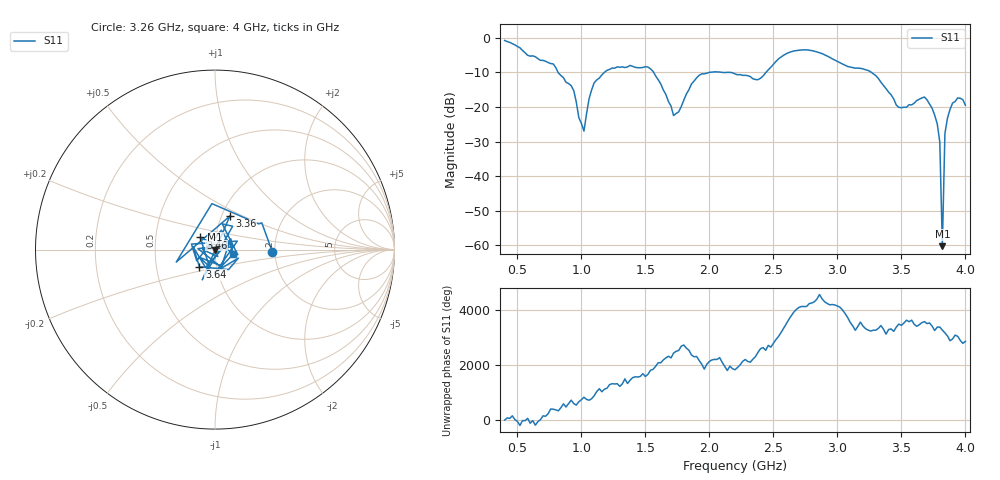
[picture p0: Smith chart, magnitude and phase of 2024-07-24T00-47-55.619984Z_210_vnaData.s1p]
!Created with skrf (http://scikit-rf.org).
# Hz S RI R 50.0
!freq ReS11 ImS11
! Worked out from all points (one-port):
!   181 points, 400 MHz to 4 GHz, reference 50 ohm
!   lowest |S11| = -60.2 dB at 3.82 GHz (marker M1), VSWR 1.00, Z = 50.1 + j0.0523 ohm
!   |S11| at or under -10 dB: 817.2 MHz to 1.181 GHz (363.9 MHz wide, 36.4 % of centre); 1.564 GHz to 2.012 GHz (448.6 MHz wide, 25.1 % of centre); 3.263 GHz to end of sweep (the widest 3 of 4)
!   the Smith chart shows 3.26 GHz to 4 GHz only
!   S11 on the Smith chart (normalised r, x): 3.26 GHz: 1.94, -0.05; 3.36 GHz: 1.09, +0.43; 3.46 GHz: 0.84, +0.12; 3.64 GHz: 0.83, -0.16; 4 GHz: 1.23, -0.06
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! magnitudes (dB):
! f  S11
! 400 MHz  -0.8
! 780 MHz  -7.6
! 860 MHz  -11.6
! 940 MHz  -15.3
! 1.02 GHz  -27.0
! 1.06 GHz  -17.6
! 1.1 GHz  -13.0
! 1.3 GHz  -8.6
! 1.54 GHz  -9.0
! 1.72 GHz  -22.5
! 1.76 GHz  -21.4
! 1.92 GHz  -10.9
! 2.2 GHz  -10.5
! 2.38 GHz  -12.2
! 2.66 GHz  -3.9
! 3.1 GHz  -8.5
! 3.26 GHz  -9.9
! 3.36 GHz  -13.8
! 3.46 GHz  -19.5
! 3.56 GHz  -19.4
! 3.64 GHz  -17.8
! 3.7 GHz  -18.0
! 3.78 GHz  -24.9
! 3.8 GHz  -30.1
! 3.82 GHz  -60.2
! 3.84 GHz  -27.7
! 3.9 GHz  -18.9
! 4 GHz  -19.5
